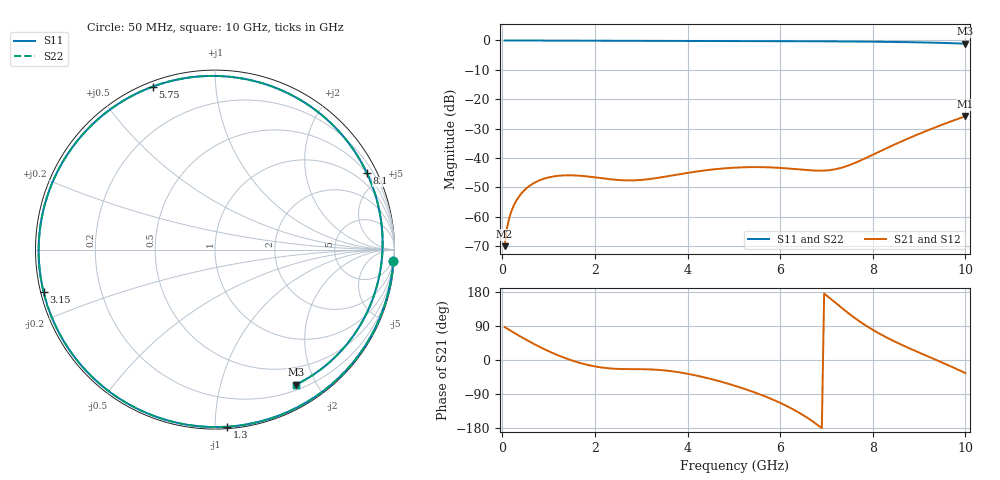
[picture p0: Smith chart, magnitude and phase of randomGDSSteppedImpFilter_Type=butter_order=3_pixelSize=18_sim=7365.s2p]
! freq	dB(S11)	phase(S11)	dB(S12)	phase(S12)
!  dB(S21)	phase(S21)	dB(S22)	phase(S22)
!S-par simulation data
#  GHz  S  DB  R 50
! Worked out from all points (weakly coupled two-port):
!   200 points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, 50 MHz to 10 GHz, reference 50 ohm
!   highest |S21| = -25.82 dB at 10 GHz (marker M1); lowest = -69.9 dB at 50 MHz (marker M2)
!   lowest |S11| = -1.1 dB at 10 GHz (marker M3), VSWR 15.32, Z = 13.2 - j86.7 ohm
!   |S11| at or under -10 dB: nowhere
!   |S22| runs from -1.1 to 0.0 dB; largest |S21 - S12| = 0
!   S11 on the Smith chart (normalised r, x): 50 MHz: 2, -32; 1.3 GHz: 0.01, -1.07; 3.15 GHz: 0.01, -0.12; 5.75 GHz: 0.02, +0.69; 8.1 GHz: 0.50, +4.16; 10 GHz: 0.26, -1.73
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0.05  -0.03 -3.5  -69.94 87.0  -69.94 87.0  -0.03 -3.5
0.1  -0.04 -7.2  -63.89 83.2  -63.89 83.2  -0.04 -7.2
0.15  -0.04 -10.8  -60.39 79.5  -60.39 79.5  -0.04 -10.9
0.25  -0.05 -18.1  -56.06 72.1  -56.06 72.1  -0.05 -18.1
0.4  -0.05 -28.8  -52.27 61.4  -52.27 61.4  -0.05 -28.8
0.85  -0.07 -59.2  -47.28 32.0  -47.28 32.0  -0.07 -59.2
1.3  -0.09 -86.2  -45.91 7.7  -45.91 7.7  -0.09 -86.2
1.75  -0.11 -109.6  -46.10 -10.2  -46.10 -10.2  -0.11 -109.6
2.45  -0.13 -140.3  -47.38 -23.2  -47.38 -23.2  -0.13 -140.3
3.15  -0.14 -166.2  -47.19 -24.6  -47.19 -24.6  -0.14 -166.2
3.4  -0.15 -174.7  -46.62 -26.3  -46.62 -26.3  -0.15 -174.7
4.2  -0.17 159.6  -44.56 -41.3  -44.56 -41.3  -0.17 159.6
5.05  -0.21 133.1  -43.24 -69.1  -43.24 -69.1  -0.21 133.2
5.75  -0.25 111.0  -43.15 -99.8  -43.15 -99.8  -0.25 111.0
6.7  -0.31 79.1  -44.22 -161.8  -44.22 -161.8  -0.31 79.2
7.3  -0.36 57.5  -43.40 140.5  -43.40 140.5  -0.36 57.6
8.1  -0.47 26.7  -38.13 72.5  -38.13 72.5  -0.47 26.7
8.35  -0.51 16.5  -36.27 56.2  -36.27 56.2  -0.51 16.5
8.8  -0.61 -2.5  -33.10 30.3  -33.10 30.3  -0.61 -2.4
9.2  -0.74 -20.1  -30.49 9.0  -30.49 9.0  -0.74 -20.1
9.6  -0.90 -38.9  -28.05 -12.2  -28.05 -12.2  -0.90 -38.9
10  -1.14 -59.1  -25.82 -34.6  -25.82 -34.6  -1.14 -59.1
